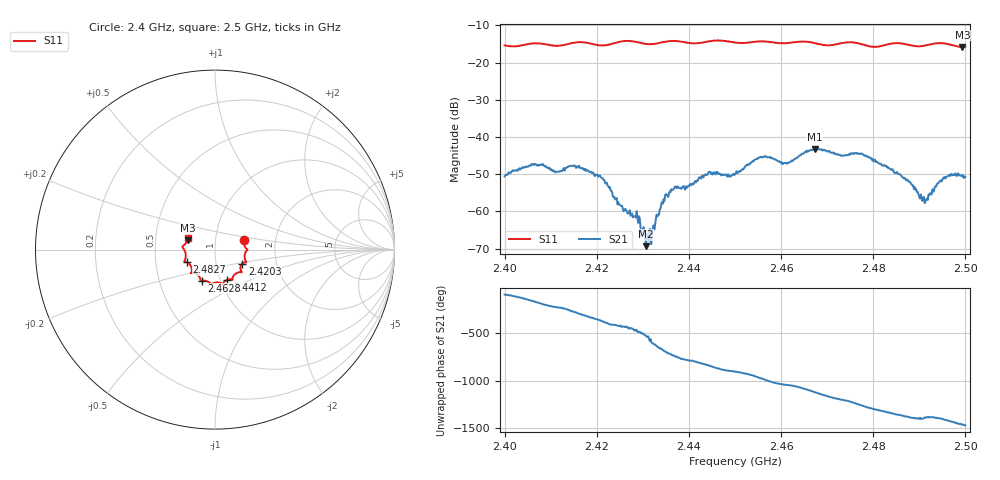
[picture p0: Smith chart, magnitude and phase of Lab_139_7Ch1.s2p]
# Hz S RI R 50
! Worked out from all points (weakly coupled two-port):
!   601 points, 2.4 GHz to 2.5 GHz, reference 50 ohm
!   highest |S21| = -43.23 dB at 2.4673 GHz (marker M1); lowest = -69.4 dB at 2.4307 GHz (marker M2)
!   lowest |S11| = -15.8 dB at 2.4993 GHz (marker M3), VSWR 1.39, Z = 36.5 + j4.05 ohm
!   |S11| at or under -10 dB: start of sweep to end of sweep
!   S12 and S22 are empty: the file has one direction only
!   S11 on the Smith chart (normalised r, x): 2.4 GHz: 1.38, +0.15; 2.4203 GHz: 1.34, -0.22; 2.4412 GHz: 1.08, -0.37; 2.4628 GHz: 0.82, -0.29; 2.4827 GHz: 0.72, -0.10; 2.5 GHz: 0.73, +0.10
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2.4e9  0.1614 0.0535  -0.000105 -0.00294  0 0  0 0
2.406333e9  0.1814 0.000594  -0.00402 -0.00122  0 0  0 0
2.416667e9  0.1746 -0.0697  0.00197 0.0033  0 0  0 0
2.420333e9  0.1521 -0.079  0.00291 0.000222  0 0  0 0
2.425333e9  0.1474 -0.1233  0.000376 -0.00112  0 0  0 0
2.428833e9  0.1399 -0.1254  -0.000411 -0.000713  0 0  0 0
2.430667e9  0.121 -0.1308  -0.000327 -9.53e-05  0 0  0 0
2.432167e9  0.1063 -0.1417  -0.000229 0.000547  0 0  0 0
2.433333e9  0.0997 -0.1523  0.000238 0.000874  0 0  0 0
2.436667e9  0.0983 -0.1688  0.00194 -0.000437  0 0  0 0
2.441167e9  0.0686 -0.1678  0.000615 -0.00238  0 0  0 0
2.45e9  0.0246 -0.1842  -0.00314 0.00029  0 0  0 0
2.4555e9  -0.018 -0.1919  -0.00179 0.0051  0 0  0 0
2.462833e9  -0.0718 -0.1733  0.00455 0.00202  0 0  0 0
2.466667e9  -0.0806 -0.1682  0.00589 -0.00319  0 0  0 0
2.467333e9  -0.0816 -0.1635  0.00531 -0.00439  0 0  0 0
2.482667e9  -0.1578 -0.0705  -0.00169 0.00374  0 0  0 0
2.483333e9  -0.1631 -0.0683  -0.00127 0.00365  0 0  0 0
2.491e9  -0.1679 -0.00839  0.00109 0.00113  0 0  0 0
2.495667e9  -0.1789 0.0201  0.00242 0.00133  0 0  0 0
2.499333e9  -0.1531 0.054  0.00287 -0.00119  0 0  0 0
2.5e9  -0.1504 0.0641  0.00253 -0.00142  0 0  0 0
